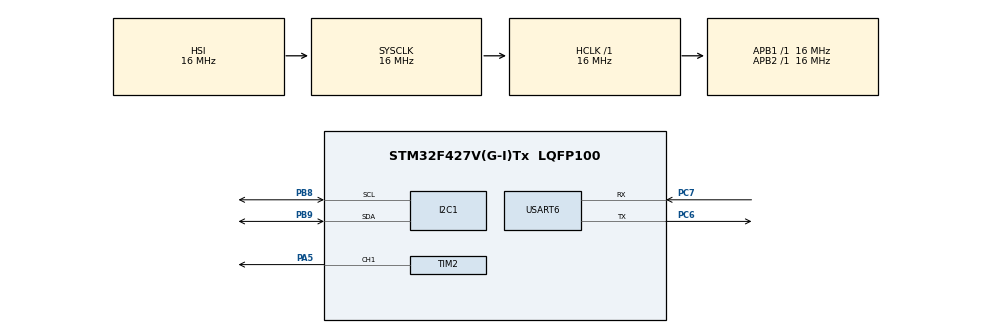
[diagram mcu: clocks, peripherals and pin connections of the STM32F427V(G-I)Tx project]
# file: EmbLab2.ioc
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I2C1.Analog_Filter=I2C_ANALOGFILTER_DISABLE
Mcu.Family=STM32F4
Mcu.Name=STM32F427V(G-I)Tx
Mcu.Package=LQFP100
NVIC.PriorityGroup=NVIC_PRIORITYGROUP_4
PA13.Mode=JTAG_5_pins
PA13.Signal=SYS_JTMS-SWDIO
PA14.Mode=JTAG_5_pins
PA14.Signal=SYS_JTCK-SWCLK
PA15.Mode=JTAG_5_pins
PA15.Signal=SYS_JTDI
PA5.Signal=S_TIM2_CH1_ETR
PB3.Mode=JTAG_5_pins
PB3.Signal=SYS_JTDO-SWO
PB4.Mode=JTAG_5_pins
PB4.Signal=SYS_JTRST
PB8.Mode=I2C
PB8.Signal=I2C1_SCL
PB9.Mode=I2C
PB9.Signal=I2C1_SDA
PC6.Mode=Asynchronous
PC6.Signal=USART6_TX
PC7.Mode=Asynchronous
PC7.Signal=USART6_RX
PH0/OSC_IN.Signal=RCC_OSC_IN
PH1/OSC_OUT.Signal=RCC_OSC_OUT
ProjectManager.HeapSize=0x200
ProjectManager.StackSize=0x400
ProjectManager.TargetToolchain=STM32CubeIDE
RCC.AHBFreq_Value=16000000
RCC.APB1Freq_Value=16000000
RCC.APB2Freq_Value=16000000
RCC.CortexFreq_Value=16000000
RCC.HSE_VALUE=25000000
RCC.HSI_VALUE=16000000
RCC.LSE_VALUE=32768
RCC.SYSCLKFreq_VALUE=16000000
RCC.VCOOutputFreq_Value=192000000
SH.S_TIM2_CH1_ETR.0=TIM2_CH1,PWM Generation1 CH1
TIM2.Channel-PWM\ Generation1\ CH1=TIM_CHANNEL_1
USART6.VirtualMode=VM_ASYNC
board=custom

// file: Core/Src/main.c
/* USER CODE BEGIN Header */
/**
  ******************************************************************************
  * @file           : main.c
  * @brief          : Main program body
  ******************************************************************************
  * @attention
  * Copyright (c) 2025 STMicroelectronics.
  * All rights reserved.
  * This software is licensed under terms that can be found in the LICENSE file
  * in the root directory of this software component.
  * If no LICENSE file comes with this software, it is provided AS-IS.
  ******************************************************************************
  */
/* USER CODE END Header */
#include "main.h"
#include "i2c.h"
#include "tim.h"
#include "usart.h"
#include "gpio.h"

/* USER CODE BEGIN Includes */
#include <stdio.h>
#include <string.h>
#include <inttypes.h>
#include "oled.h"
#include "sdk_uart.h"
#include "kb.h"
#include "buzzer.h"
/* USER CODE END Includes */

/* USER CODE BEGIN PD */
#define TIMER_INPUT_CLOCK_HZ 16000000UL
#define HELP_DISPLAY_TIME_MS 5000  /* Время показа справки в миллисекундах */
/* USER CODE END PD */

/* USER CODE BEGIN PV */
static uint32_t t_hours = 0, t_mins = 0, t_secs = 3;
static uint8_t  timer_running = 0;
static uint32_t last_tick_ms = 0;
static uint8_t  already_rang = 0;
static uint8_t  show_help = 0;      /* Флаг показа справки */
static uint32_t help_start_time = 0; /* Время начала показа справки */

static uint32_t end_melody[] = { N_C5, N_E5, N_G5, N_C5, N_REST, N_G5, N_E5, N_C5 };
static uint32_t end_delays[] = { 8, 8, 8, 8, 8, 8, 8, 4 };
/* USER CODE END PV */

void SystemClock_Config(void);
/* USER CODE BEGIN PFP */
uint8_t Get_KeyCode(void);
static void Draw_Screen(uint8_t selection);
static void Draw_Help_Screen(void);  /* Новая функция для отрисовки справки */
static void Tick_Timer_1Hz(void);
static uint8_t Is_Zero(void);
static void Play_End_Melody(void);
static void Play_484Hz_Tone(void);
static void Show_Help(void);         /* Функция для активации показа справки */
/* USER CODE END PFP */

/* USER CODE BEGIN 0 */
static void format_hhmmss(char *buf, size_t n, uint32_t H, uint32_t M, uint32_t S)
{
  snprintf(buf, n, "%02lu:%02lu:%02lu", (unsigned long)H, (unsigned long)M, (unsigned long)S);
}

static void inc_field(uint8_t field, uint8_t digit)
{
  switch (field)
  {
    case 0: t_hours = (t_hours > 99) ? 0 : (t_hours*10U + digit); if (t_hours > 99) t_hours = 99; break;
    case 1: t_mins  = (t_mins  > 59) ? 0 : (t_mins *10U + digit); if (t_mins  > 59) t_mins  = 59; break;
    case 2: t_secs  = (t_secs  > 59) ? 0 : (t_secs *10U + digit); if (t_secs  > 59) t_secs  = 59; break; /* ОШИБКА: было _tsecs вместо t_secs */
  }
}

static void normalize_time(void)
{
  if (t_secs > 59) t_secs = 59;
  if (t_mins > 59) t_mins = 59;
  if (t_hours > 99) t_hours = 99;
}

static void start_timer(void)
{
  normalize_time();
  timer_running = 1;
  already_rang = 0;
  last_tick_ms = HAL_GetTick();
}

static void stop_timer(void)
{
  timer_running = 0;
}

/* Функция для активации показа справки */
static void Show_Help(void)
{
  show_help = 1;
  help_start_time = HAL_GetTick();
  UART_Transmit((uint8_t*)"HELP: Displaying help screen\r\n");
}
/* USER CODE END 0 */

int main(void)
{
  HAL_Init();
  SystemClock_Config();

  MX_GPIO_Init();
  MX_I2C1_Init();
  MX_USART6_UART_Init();
  MX_TIM2_Init();

  /* USER CODE BEGIN 2 */
  oled_Init();
  UART_Transmit((uint8_t*)"Timer UI + Buzzer on TIM2\r\n");
  Buzzer_Init();
  Buzzer_Set_Volume(BUZZER_VOLUME_MUTE);
  /* USER CODE END 2 */

  enum {SEL_HH, SEL_MM, SEL_SS, SEL_RUN} selection = SEL_HH;

  while (1)
  {
    static const uint8_t keymap[12] = {
      '7','8','9',
      '4','5','6',
      '1','2','3',
      '<','0','>'
    };
    static uint8_t old_code = 0xFF;
    uint8_t code = Get_KeyCode();

    if (code == 0xFF) {
      old_code = 0xFF;
    }
    else if (code != old_code)
    {
      old_code = code;

      /* Проверяем, не нажата ли кнопка справки (кнопка 7 - код 0) */
      if (code == 0 && !timer_running) {
        Show_Help();
        continue;  /* Пропускаем остальную обработку, сразу показываем справку */
      }

      /* Если показывается справка - любая кнопка закрывает её */
      if (show_help) {
        show_help = 0;
        continue;
      }

      /* Обработка остальных кнопок (только если не показывается справка) */
      if (code == 9) {
        if (selection == SEL_HH) selection = SEL_RUN; else selection--;
      }
      else if (code == 11) {
        selection = (selection + 1) % 4;
      }
      else
      {
        if (selection == SEL_RUN) {
          if (code == 10) { start_timer(); UART_Transmit((uint8_t*)"TIMER: START\r\n"); }
          else if (code == 6) { stop_timer(); UART_Transmit((uint8_t*)"TIMER: STOP\r\n"); }
          else if (code == 8) { t_hours = t_mins = t_secs = 0; UART_Transmit((uint8_t*)"TIMER: CLEAR\r\n"); }
        } else if (code <= 10) {
          uint8_t digit = (uint8_t)(keymap[code] - '0');
          inc_field(selection, digit);
          normalize_time();
        }
      }
    }

    /* Проверяем, не истекло ли время показа справки */
    if (show_help && (HAL_GetTick() - help_start_time >= HELP_DISPLAY_TIME_MS)) {
      show_help = 0;
    }

    if (timer_running && !show_help) {
      Tick_Timer_1Hz();
      if (Is_Zero() && !already_rang) {
        already_rang = 1;
        stop_timer();
        Play_End_Melody();
        Play_484Hz_Tone();
      }
    }

    /* Отрисовка экрана */
    if (show_help) {
      Draw_Help_Screen();
    } else {
      Draw_Screen(selection);
    }

    oled_UpdateScreen();

    /* Небольшая задержка для уменьшения нагрузки на процессор */
    HAL_Delay(10);
  }
}

void SystemClock_Config(void)
{
  RCC_OscInitTypeDef RCC_OscInitStruct = {0};
  RCC_ClkInitTypeDef RCC_ClkInitStruct = {0};

  __HAL_RCC_PWR_CLK_ENABLE();
  __HAL_PWR_VOLTAGESCALING_CONFIG(PWR_REGULATOR_VOLTAGE_SCALE3);

  RCC_OscInitStruct.OscillatorType = RCC_OSCILLATORTYPE_HSI;
  RCC_OscInitStruct.HSIState = RCC_HSI_ON;
  RCC_OscInitStruct.HSICalibrationValue = RCC_HSICALIBRATION_DEFAULT;
  RCC_OscInitStruct.PLL.PLLState = RCC_PLL_NONE;
  if (HAL_RCC_OscConfig(&RCC_OscInitStruct) != HAL_OK) { Error_Handler(); }

  RCC_ClkInitStruct.ClockType = RCC_CLOCKTYPE_HCLK|RCC_CLOCKTYPE_SYSCLK
                              |RCC_CLOCKTYPE_PCLK1|RCC_CLOCKTYPE_PCLK2;
  RCC_ClkInitStruct.SYSCLKSource   = RCC_SYSCLKSOURCE_HSI;
  RCC_ClkInitStruct.AHBCLKDivider  = RCC_SYSCLK_DIV1;
  RCC_ClkInitStruct.APB1CLKDivider = RCC_HCLK_DIV1;
  RCC_ClkInitStruct.APB2CLKDivider = RCC_HCLK_DIV1;
  if (HAL_RCC_ClockConfig(&RCC_ClkInitStruct, FLASH_LATENCY_0) != HAL_OK) { Error_Handler(); }
}

/* USER CODE BEGIN 4 */
/* Функция для отрисовки экрана справки */
static void Draw_Help_Screen(void)
{
  oled_Fill(Black);

  /* Заголовок - используем существующий шрифт Font_7x10 */
  oled_SetCursor(0, 0);
  oled_WriteString("=== help ===", Font_7x10, White);

  /* Основные команды */
  oled_SetCursor(0, 12);
  oled_WriteString("< >: navigation", Font_7x10, White);

  oled_SetCursor(0, 24);
  oled_WriteString("0-9: nums", Font_7x10, White);

  oled_SetCursor(0, 36);
  oled_WriteString("in RUN:", Font_7x10, White);

  oled_SetCursor(0, 48);
  oled_WriteString("0=start 6=stop", Font_7x10, White);

  oled_SetCursor(0, 60);
  oled_WriteString("8=reset", Font_7x10, White);
}

static void Draw_Screen(uint8_t selection)
{
  char buf[16];
  oled_Fill(Black);

  oled_SetCursor(0, 0);
  oled_WriteString("HH:", Font_7x10, White);
  snprintf(buf, sizeof(buf), "%02lu", (unsigned long)t_hours);
  oled_WriteString(buf, Font_7x10, White);

  oled_SetCursor(0, 12);
  oled_WriteString("MM:", Font_7x10, White);
  snprintf(buf, sizeof(buf), "%02lu", (unsigned long)t_mins);
  oled_WriteString(buf, Font_7x10, White);

  oled_SetCursor(0, 24);
  oled_WriteString("SS:", Font_7x10, White);
  snprintf(buf, sizeof(buf), "%02lu", (unsigned long)t_secs);
  oled_WriteString(buf, Font_7x10, White);

  switch (selection) {
    case 0: oled_SetCursor(58, 0);  break;
    case 1: oled_SetCursor(58, 12); break;
    case 2: oled_SetCursor(58, 24); break;
    case 3: oled_SetCursor(58, 36); break;
  }
  oled_WriteChar('<', Font_7x10, White);

  oled_SetCursor(0, 36);
  oled_WriteString("RUN: ", Font_7x10, White);
  oled_WriteString(timer_running ? "ON" : "OFF", Font_7x10, White);

  char tline[16];
  format_hhmmss(tline, sizeof(tline), t_hours, t_mins, t_secs);
  oled_SetCursor(0, 48);
  oled_WriteString(tline, Font_7x10, White);

  /* Индикация справки внизу экрана */
  oled_SetCursor(0, 60);
  oled_WriteString("7=Справка", Font_7x10, White); /* Изменено на Font_7x10 */
}

static void Tick_Timer_1Hz(void)
{
  uint32_t now = HAL_GetTick();
  if ((now - last_tick_ms) >= 1000U) {
    last_tick_ms += 1000U;
    if (!Is_Zero()) {
      if (t_secs > 0) t_secs--;
      else {
        t_secs = 59;
        if (t_mins > 0) t_mins--;
        else {
          t_mins = 59;
          if (t_hours > 0) t_hours--;
        }
      }
    }
  }
}

static uint8_t Is_Zero(void)
{
  return (t_hours == 0 && t_mins == 0 && t_secs == 0);
}

static void Play_End_Melody(void)
{
  Buzzer_Play(end_melody, end_delays, sizeof(end_melody)/sizeof(end_melody[0]));
}

static void Play_484Hz_Tone(void)
{
  Buzzer_Set_Freq(484);
  Buzzer_Set_Volume(BUZZER_VOLUME_MAX);
  HAL_Delay(800);
  Buzzer_Set_Volume(BUZZER_VOLUME_MUTE);
}
/* -------	----------------------------- */

uint8_t Get_KeyCode(void)
{
  const uint8_t row_constants[4] = {ROW1, ROW2, ROW3, ROW4};
  for (uint8_t row = 0; row < 4; row++) {
    uint8_t col_code = Check_Row(row_constants[row]);
    if (col_code != 0x00) {
      uint8_t col;
      switch (col_code) { case 0x01: col = 2; break; case 0x02: col = 1; break; case 0x04: col = 0; break; default: return 0xFF; }
      return (uint8_t)(row * 3 + col);
    }
  }
  return 0xFF;
}
/* USER CODE END 4 */

void Error_Handler(void)
{
  __disable_irq();
  while (1) { }
}
